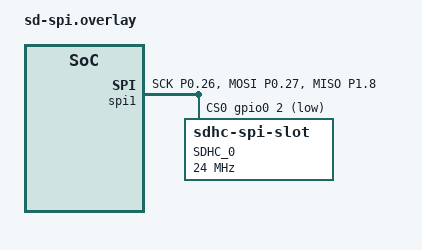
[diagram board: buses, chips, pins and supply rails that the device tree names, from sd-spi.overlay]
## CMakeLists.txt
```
# SPDX-License-Identifier: Apache-2.0

cmake_minimum_required(VERSION 3.20.0)
find_package(Zephyr REQUIRED HINTS $ENV{ZEPHYR_BASE})
project(spi-sd-test)

FILE(GLOB app_sources src/*.c)
target_sources(app PRIVATE ${app_sources})
```

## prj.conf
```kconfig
CONFIG_DISK_ACCESS=y
CONFIG_LOG=y
CONFIG_FILE_SYSTEM=y
CONFIG_FAT_FILESYSTEM_ELM=y
CONFIG_FS_FATFS_MOUNT_MKFS=y
CONFIG_FS_FATFS_EXFAT=y
CONFIG_PRINTK=y
CONFIG_MAIN_STACK_SIZE=2048

CONFIG_PRINTK=y
CONFIG_LOG=y
#CONFIG_LOG_DEFAULT_LEVEL=4
CONFIG_DEBUG_OPTIMIZATIONS=y
CONFIG_LOG_PRINTK=y
CONFIG_LOG_MODE_IMMEDIATE=y

#CONFIG_USE_SEGGER_RTT=y
#CONFIG_RTT_CONSOLE=y
#CONFIG_LOG_BACKEND_RTT=y
CONFIG_LOG_BACKEND_UART=y
CONFIG_LOG_BUFFER_SIZE=4096

CONFIG_DISK_DRIVER_SDMMC=y
CONFIG_SPI=y

CONFIG_HEAP_MEM_POOL_SIZE=512
CONFIG_GPIO=y

#CONFIG_TEST_SPI_WRITE=y
```

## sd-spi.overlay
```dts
&spi1 {
	status = "okay";
	pinctrl-0 = <&custom_spi>;
	pinctrl-1 = <&custom_spi>;
	pinctrl-names = "default", "sleep";
	cs-gpios = <&gpio0 2 GPIO_ACTIVE_LOW>;

	sdhc0: sdhc@0 {
		compatible = "zephyr,sdhc-spi-slot";
		reg = <0>;
		status = "okay";
		label = "SDHC_0";
		mmc {
			compatible = "zephyr,sdmmc-disk";
			status = "okay";
		};
		spi-max-frequency = <24000000>;
	};
};

&pinctrl {
	custom_spi: custom_spi {
		group1 {
			psels = <NRF_PSEL(SPIM_SCK, 0, 26)>,
				<NRF_PSEL(SPIM_MOSI, 0, 27)>,
				<NRF_PSEL(SPIM_MISO, 1, 8)>;
		};
	};
};
```

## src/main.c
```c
#include <zephyr/kernel.h>
#include <zephyr/device.h>
#include <zephyr/storage/disk_access.h>
#include <zephyr/logging/log.h>
#include <zephyr/fs/fs.h>
#include <ff.h>

#include <zephyr/kernel.h>

LOG_MODULE_REGISTER(main);

static int lsdir(const char *path);

static FATFS fat_fs;
/* mounting info */
static struct fs_mount_t mp = {
	.type = FS_FATFS,
	.fs_data = &fat_fs,
};

/*
*  Note the fatfs library is able to mount only strings inside _VOLUME_STRS
*  in ffconf.h
*/
static const char *disk_mount_pt = "/SD:";

static int lsdir(const char *path)
{
	int res;
	struct fs_dir_t dirp;
	static struct fs_dirent entry;

	fs_dir_t_init(&dirp);

	/* Verify fs_opendir() */
	res = fs_opendir(&dirp, path);
	if (res) {
		printk("Error opening dir %s [%d]\n", path, res);
		return res;
	}

	printk("\nListing dir %s ...\n", path);
	for (;;) {
		/* Verify fs_readdir() */
		res = fs_readdir(&dirp, &entry);

		/* entry.name[0] == 0 means end-of-dir */
		if (res || entry.name[0] == 0) {
			break;
		}

		if (entry.type == FS_DIR_ENTRY_DIR) {
			printk("[DIR ] %s\n", entry.name);
		} else {
			printk("[FILE] %s (size = %zu)\n",
				entry.name, entry.size);
		}
	}

	/* Verify fs_closedir() */
	fs_closedir(&dirp);

	return res;
}

static int mount_sd_card(void)
{
	/* raw disk i/o */
	static const char *disk_pdrv = "SD";
	uint64_t memory_size_mb;
	uint32_t block_count;
	uint32_t block_size;

	if (disk_access_init(disk_pdrv) != 0) {
		LOG_ERR("Storage init ERROR!");
		return -1;
	}

	if (disk_access_ioctl(disk_pdrv,
			DISK_IOCTL_GET_SECTOR_COUNT, &block_count)) {
		LOG_ERR("Unable to get sector count");
		return -1;
	}
	LOG_INF("Block count %u", block_count);

	if (disk_access_ioctl(disk_pdrv,
			DISK_IOCTL_GET_SECTOR_SIZE, &block_size)) {
		LOG_ERR("Unable to get sector size");
		return -1;
	}
	printk("Sector size %u\n", block_size);

	memory_size_mb = (uint64_t)block_count * block_size;
	printk("Memory Size(MB) %u\n", (uint32_t)(memory_size_mb >> 20));

	mp.mnt_point = disk_mount_pt;

	int res = fs_mount(&mp);

	if (res == FR_OK) {
		printk("Disk mounted.\n");
		lsdir(disk_mount_pt);
	} else {
		printk("Failed to mount disk - trying one more time\n");
		res = fs_mount(&mp);
		if (res != FR_OK) {
			printk("Error mounting disk.\n");
			return -1;
		}
	}

	return 0;
}

int main(void)
{
	int ret = 0;
	//if (IS_ENABLED(CONFIG_TEST_SPI_WRITE) || IS_ENABLED(CONFIG_TEST_SPI_READ)) {
	if (1) {
		/** SD card mount test **/
		if (mount_sd_card()) {
			printk("Failed to mount SD card\n");
			return -1;
		} else {
			printk("Successfully mounted SD card\n");
		}
	}

	char file_data_buffer[200];
	struct fs_file_t data_filp;
	fs_file_t_init(&data_filp);

	char file_ch;
	//if (IS_ENABLED(CONFIG_NEXTILES_TEST_SPI_WRITE)) {
	if (1) {
		ret = fs_unlink("/SD:/test_data.txt");

		ret = fs_open(&data_filp, "/SD:/test_data.txt", FS_O_WRITE | FS_O_CREATE);
		if (ret) {
			printk("%s -- failed to create file (err = %d)\n", __func__, ret);
			return -2;
		} else {
			printk("%s - successfully created file\n", __func__);
		}

		sprintf(file_data_buffer, "hello world!\n");
		ret = fs_write(&data_filp, file_data_buffer, strlen(file_data_buffer));
		fs_close(&data_filp);
	}

	if (IS_ENABLED(CONFIG_TEST_SPI_READ)) {
		ret = fs_open(&data_filp, "/SD:/test_data.txt", FS_O_READ);
		if (ret) {
			printk("%s -- failed to open file for read\n", __func__);
			return -1;
		}

		memset(file_data_buffer, 0, sizeof(file_data_buffer));
		int file_data_buffer_ind = 0;
		while (1) {
			ret = fs_read(&data_filp, &file_ch, 1);
			if (ret <= 0) {
				printk("%s -- failed to read file (EOF?)\n", __func__);
				break;
			}
			file_data_buffer[file_data_buffer_ind] = file_ch;
			file_data_buffer_ind++;
			if (file_ch == '\n') {
				file_data_buffer_ind = 0;
				printk("line = %s\n", file_data_buffer);
			}
			k_msleep(1);
		}
		fs_close(&data_filp);
	}

	while (1) {
		k_sleep(K_MSEC(1));
	}

	return 0;
}
```
